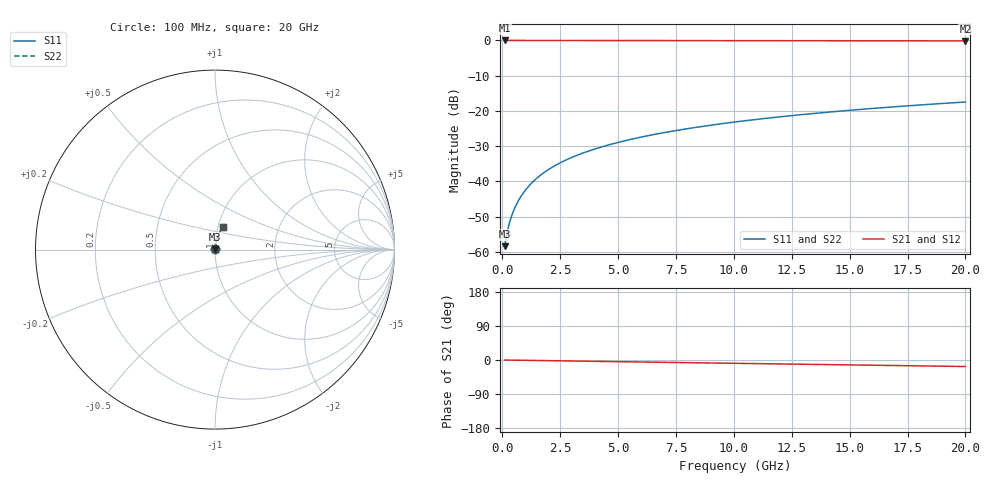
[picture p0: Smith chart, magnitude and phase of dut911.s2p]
! Touchstone file exported from HFSS 2026.1.0
!  File:  C:/ffzhzh/LocalFiles/Ansys_Project_Files/temp_train_BSMRDL_911_1783171590_22436.aedt
!  Generated:  09:27:46 PM Jul  4, 2026
!  Design:  BSMRDL
!  Project:  temp_train_BSMRDL_911_1783171590_22436
! Variables:
!  h_bsmrdl = 5.61um
!  h_ox = 20um
!  h_rdl = 5um
!  h_sub = 80um
!  h_tmrdl = 5um
!  h_tsv = 80um
!  h_via = 3um
!  l_bsmrdl = 250.78um
!  l_sub = 650.78um
!  l_tmrdl = 200um
!  m_sub = 200um
!  pitch = 40.01um
!  r_tsv = 6um
!  s_tmrdl = 10um
!  w_bsmrdl = 21.85um
!  w_sub = 500um
!  w_tmrdl = 12um
!  x_tsv_center1 = 206um
!  x_tsv_center2 = 478.63um
!  x_tsv_center3 = 690.63um
!  x_tsv_center4 = 963.26um
!  x_tsv_center5 = 1175.26um
!  x_tsv_center6 = 1447.89um
# GHz S MA R 50.000000
! Terminal data exported
! Port[1] = BSM_RDL1_1_T1
! Port[2] = BSM_RDL1_1_T2
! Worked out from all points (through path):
!   200 points, 100 MHz to 20 GHz, reference 50 ohm
!   highest |S21| = -0.01 dB at 100 MHz (marker M1); lowest = -0.1 dB at 20 GHz (marker M2)
!   group delay of S21, straight-line fit = 2.38 ps
!   lowest |S11| = -58.4 dB at 100 MHz (marker M3), VSWR 1.00, Z = 50.1 + j0.0833 ohm
!   |S11| at or under -10 dB: start of sweep to end of sweep
!   |S22| runs from -58.4 to -17.5 dB; largest |S21 - S12| = 1.3e-14
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0.1  0.001209 43.4  0.9991 -0.1  0.9991 -0.1  0.001209 43.4
! Gamma 0 0 0 0
! Port Impedance 50 0 50 0
0.2  0.001855 59.2  0.9991 -0.2  0.9991 -0.2  0.001855 59.2
0.3  0.002532 66.7  0.999 -0.3  0.999 -0.3  0.002532 66.7
0.4  0.003226 71.2  0.999 -0.4  0.999 -0.4  0.003226 71.2
0.5  0.003933 74.1  0.9989 -0.5  0.9989 -0.5  0.003933 74.1
0.6  0.004648 76.2  0.9989 -0.5  0.9989 -0.5  0.004648 76.2
0.8  0.006095 78.8  0.9988 -0.7  0.9988 -0.7  0.006095 78.8
1.1  0.008279 80.8  0.9988 -1.0  0.9988 -1.0  0.008279 80.8
1.3  0.009737 81.6  0.9987 -1.2  0.9987 -1.2  0.009737 81.6
1.5  0.01119 82.0  0.9986 -1.3  0.9986 -1.3  0.01119 82.0
1.8  0.01337 82.4  0.9985 -1.6  0.9985 -1.6  0.01337 82.4
2.1  0.01553 82.6  0.9984 -1.9  0.9984 -1.9  0.01553 82.6
2.7  0.01981 82.6  0.9981 -2.4  0.9981 -2.4  0.01981 82.6
3.5  0.02543 82.3  0.9977 -3.1  0.9977 -3.1  0.02543 82.3
4.2  0.03029 82.0  0.9973 -3.7  0.9973 -3.7  0.03029 82.0
5  0.03579 81.5  0.9968 -4.4  0.9968 -4.4  0.03579 81.5
6.8  0.048 80.4  0.9958 -6.0  0.9958 -6.0  0.048 80.4
8.3  0.05808 79.4  0.9949 -7.3  0.9949 -7.3  0.05808 79.4
10.1  0.07007 78.1  0.9938 -8.8  0.9938 -8.8  0.07007 78.1
13.4  0.09177 75.7  0.9914 -11.6  0.9914 -11.6  0.09177 75.7
16.7  0.1131 73.1  0.9887 -14.4  0.9887 -14.4  0.1131 73.1
20  0.1339 70.5  0.9857 -17.2  0.9857 -17.2  0.1339 70.5
